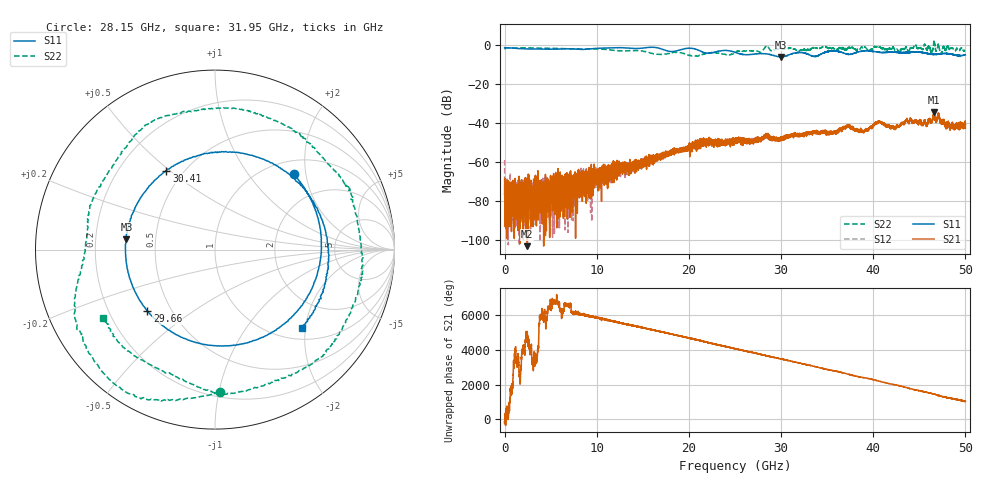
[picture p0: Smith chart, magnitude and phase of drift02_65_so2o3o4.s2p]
!Created with skrf (http://scikit-rf.org).
# Hz S RI R 50.0
!freq ReS11 ImS11 ReS21 ImS21 ReS12 ImS12 ReS22 ImS22
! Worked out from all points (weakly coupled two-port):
!   10001 points, 300 kHz to 50 GHz, reference 50 ohm
!   highest |S21| = -34.20 dB at 46.61 GHz (marker M1); lowest = -103.1 dB at 2.47 GHz (marker M2)
!   lowest |S11| = -6.1 dB at 30.02 GHz (marker M3), VSWR 2.97, Z = 16.9 + j2.52 ohm
!   |S11| at or under -10 dB: nowhere
!   |S22| runs from -5.7 to 2.4 dB; largest |S21 - S12| = 0.0036
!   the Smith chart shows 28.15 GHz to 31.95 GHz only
!   S11 on the Smith chart (normalised r, x): 28.15 GHz: 1.29, +1.70; 29.66 GHz: 0.37, -0.34; 30.41 GHz: 0.41, +0.49; 31.95 GHz: 1.26, -1.91
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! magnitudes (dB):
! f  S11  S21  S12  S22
! 300 kHz  -1.3  -76.4  -58.9  -2.1
! 280.3 MHz  -1.4  -70.8  -70.1  -1.4
! 2.47 GHz  -2.0  -103.1  -80.7  -1.3
! 4.96 GHz  -2.1  -77.6  -76.9  -1.6
! 8.335 GHz  -2.2  -65.4  -65.1  -1.9
! 16.67 GHz  -1.5  -56.5  -56.5  -4.7
! 21.46 GHz  -3.5  -49.8  -50.8  -4.8
! 25 GHz  -3.7  -50.0  -48.8  -3.9
! 28.15 GHz  -4.4  -46.8  -47.1  -2.0
! 29.66 GHz  -5.9  -48.8  -48.5  -2.1
! 30.02 GHz  -6.1  -48.2  -48.4  -2.0
! 30.41 GHz  -5.7  -48.2  -47.5  -1.9
! 31.95 GHz  -3.7  -46.0  -45.7  -2.7
! 33.34 GHz  -5.5  -45.0  -44.8  -1.6
! 35.61 GHz  -3.0  -45.0  -44.3  -1.6
! 37.26 GHz  -4.7  -41.3  -41.0  -1.4
! 38.9 GHz  -3.1  -44.6  -44.5  -1.4
! 40.65 GHz  -3.7  -39.4  -39.3  -1.0
! 41.67 GHz  -3.6  -41.3  -41.0  -1.9
! 46.61 GHz  -4.7  -34.2  -34.2  2.4
! 48.12 GHz  -4.4  -40.6  -40.2  -0.5
! 50 GHz  -4.9  -42.7  -41.4  -2.7
